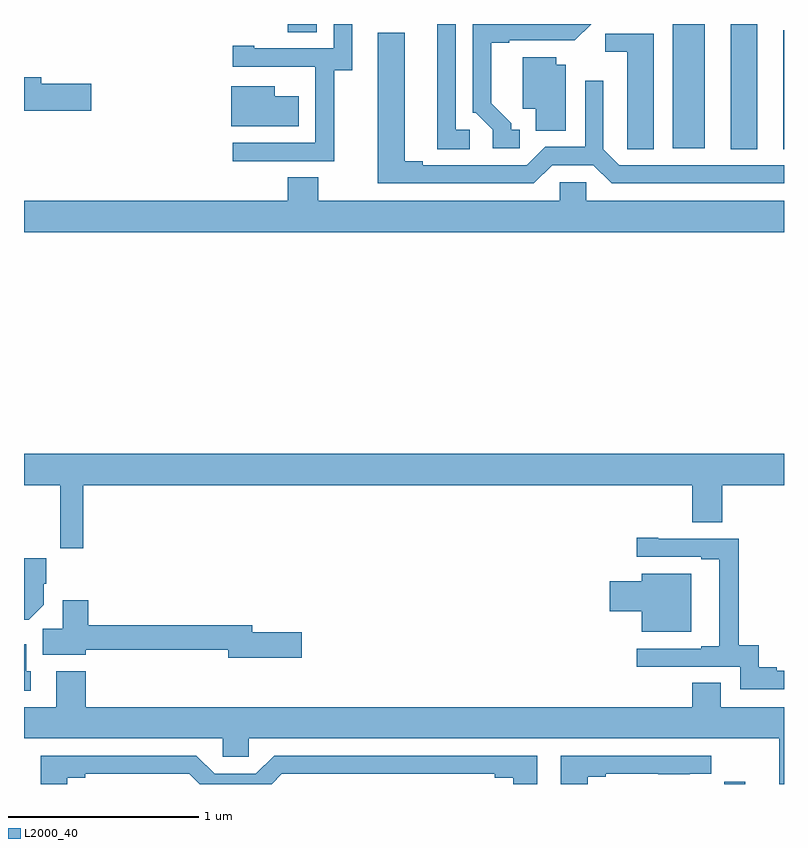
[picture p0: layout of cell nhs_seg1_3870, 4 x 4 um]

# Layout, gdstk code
import gdstk
lib = gdstk.Library(unit=1e-6, precision=1e-09)
def R(c, l, rs):  # rectangles x0, y0, x1, y1
    for r in rs: c.add(gdstk.rectangle(r[:2], r[2:], *l))
def P(c, l, *ps):  # polygons
    for p in ps: c.add(gdstk.Polygon(p, *l))
L2000_40 = (2000, 40)

nhs_seg1_3870 = lib.new_cell('nhs_seg1_3870')
R(nhs_seg1_3870, L2000_40, [(326.686,510.199,326.795,510.211), (326.72,513.541,326.86,514.199), (326.414,513.545,326.584,514.199), (324.389,514.156,324.541,514.199)])
P(nhs_seg1_3870, L2000_40, [(325.609,513.642),(325.564,513.642),(325.564,513.677),(325.459,513.782),(325.459,514.101),(325.555,514.101),(325.555,514.113),(325.899,514.113),(325.985,514.199),(325.362,514.199),(325.362,513.732),(325.377,513.732),(325.467,513.642),(325.467,513.546),(325.609,513.546)],
  [(325.345,513.642),(325.272,513.642),(325.272,514.199),(325.175,514.199),(325.175,513.541),(325.345,513.541)],
  [(324.633,513.955),(324.727,513.955),(324.727,514.199),(324.63,514.199),(324.63,514.071),(324.211,514.071),(324.211,514.084),(324.099,514.084),(324.099,513.975),(324.533,513.975),(324.533,513.974),(324.534,513.974),(324.534,513.573),(324.099,513.573),(324.099,513.477),(324.633,513.477)],
  [(327,514.166),(326.997,514.166),(326.997,514.055),(326.996,514.055),(326.996,513.541),(327,513.541)],
  [(325.779,513.456),(325.997,513.456),(326.093,513.36),(327,513.36),(327,513.456),(326.133,513.456),(326.049,513.54),(326.049,513.901),(325.953,513.901),(325.953,513.552),(325.743,513.552),(325.647,513.456),(325.099,513.456),(325.099,513.476),(325.003,513.476),(325.003,514.153),(324.863,514.153),(324.863,513.36),(325.683,513.36)],
  [(326.314,514.149),(326.058,514.149),(326.058,514.052),(326.174,514.052),(326.174,513.649),(326.175,513.649),(326.175,513.541),(326.314,513.541)],
  [(325.852,513.985),(325.801,513.985),(325.801,514.024),(325.625,514.024),(325.625,513.752),(325.694,513.752),(325.694,513.637),(325.852,513.637)],
  [(323.353,513.884),(323.092,513.884),(323.092,513.92),(323,513.92),(323,513.742),(323.353,513.742)],
  [(324.445,513.82),(324.319,513.82),(324.319,513.871),(324.092,513.871),(324.092,513.662),(324.445,513.662)],
  [(327,513.268),(325.959,513.268),(325.959,513.366),(325.821,513.366),(325.821,513.268),(324.549,513.268),(324.549,513.392),(324.389,513.392),(324.389,513.268),(323,513.268),(323,513.104),(327,513.104)],
  [(323.312,511.772),(326.516,511.772),(326.516,511.576),(326.676,511.576),(326.676,511.772),(327,511.772),(327,511.936),(323,511.936),(323,511.772),(323.191,511.772),(323.191,511.44),(323.312,511.44)],
  [(327,510.795),(326.962,510.795),(326.962,510.814),(326.866,510.814),(326.866,510.928),(326.762,510.928),(326.762,511.491),(326.338,511.491),(326.338,511.496),(326.226,511.496),(326.226,511.395),(326.564,511.395),(326.564,511.383),(326.66,511.383),(326.66,510.925),(326.564,510.925),(326.564,510.912),(326.226,510.912),(326.226,510.816),(326.769,510.816),(326.769,510.699),(327,510.699)],
  [(323.104,511.142),(323.104,511.252),(323.117,511.252),(323.117,511.387),(323,511.387),(323,511.064),(323.026,511.064)],
  [(326.512,511.306),(326.252,511.306),(326.252,511.267),(326.082,511.267),(326.082,511.109),(326.252,511.109),(326.252,511.001),(326.512,511.001)],
  [(324.463,510.998),(324.202,510.998),(324.202,511.034),(323.339,511.034),(323.339,511.165),(323.204,511.165),(323.204,511.016),(323.099,511.016),(323.099,510.878),(323.326,510.878),(323.326,510.906),(324.074,510.906),(324.074,510.863),(324.463,510.863)],
  [(323.035,510.792),(323.011,510.792),(323.011,510.934),(323,510.934),(323,510.69),(323.035,510.69)],
  [(327,510.604),(326.668,510.604),(326.668,510.731),(326.516,510.731),(326.516,510.604),(323.324,510.604),(323.324,510.793),(323.171,510.793),(323.171,510.604),(323,510.604),(323,510.44),(324.045,510.44),(324.045,510.342),(324.183,510.342),(324.183,510.44),(326.975,510.44),(326.975,510.199),(327,510.199)],
  [(323.227,510.232),(323.323,510.232),(323.323,510.252),(323.871,510.252),(323.924,510.199),(324.304,510.199),(324.357,510.252),(325.478,510.252),(325.478,510.232),(325.574,510.232),(325.574,510.199),(325.702,510.199),(325.702,510.348),(324.317,510.348),(324.221,510.252),(324.003,510.252),(323.907,510.348),(323.087,510.348),(323.087,510.199),(323.227,510.199)],
  [(325.966,510.237),(326.062,510.237),(326.062,510.252),(326.338,510.252),(326.338,510.251),(326.504,510.251),(326.504,510.252),(326.617,510.252),(326.617,510.348),(325.826,510.348),(325.826,510.199),(325.966,510.199)])

lib.write_gds('nhs_seg1_3870.gds')
